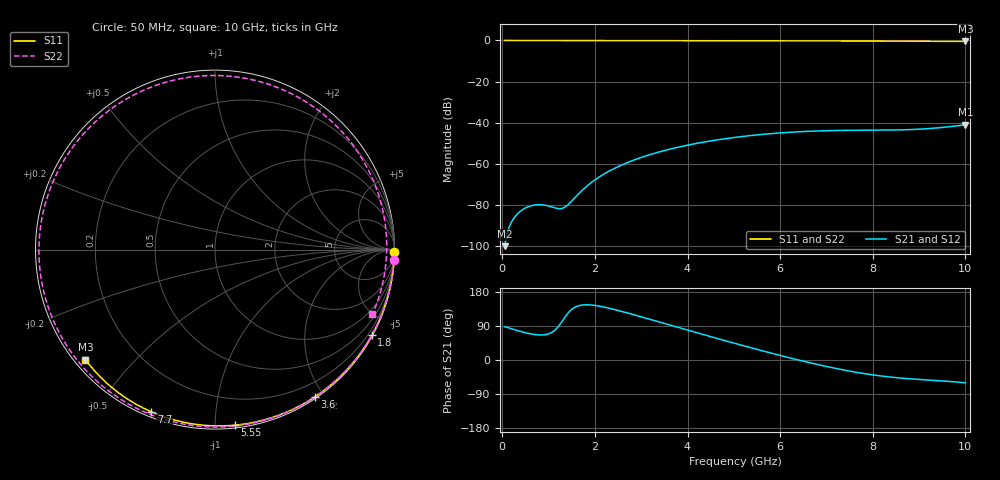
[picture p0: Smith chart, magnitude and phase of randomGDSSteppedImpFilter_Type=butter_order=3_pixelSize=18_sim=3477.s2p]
! freq	dB(S11)	phase(S11)	dB(S12)	phase(S12)
!  dB(S21)	phase(S21)	dB(S22)	phase(S22)
!S-par simulation data
#  GHz  S  DB  R 50
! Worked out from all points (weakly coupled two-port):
!   200 points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, 50 MHz to 10 GHz, reference 50 ohm
!   highest |S21| = -41.06 dB at 10 GHz (marker M1); lowest = -100.2 dB at 50 MHz (marker M2)
!   lowest |S11| = -0.5 dB at 10 GHz (marker M3), VSWR 36.74, Z = 1.54 - j18.3 ohm
!   |S11| at or under -10 dB: nowhere
!   |S22| runs from -0.5 to 0.0 dB; largest |S21 - S12| = 0
!   S11 on the Smith chart (normalised r, x): 50 MHz: open; 1.8 GHz: 0.03, -3.91; 3.6 GHz: 0.02, -1.88; 5.55 GHz: 0.02, -1.12; 7.7 GHz: 0.02, -0.68; 10 GHz: 0.03, -0.37
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0.05  -0.00 -0.8  -100.18 88.1  -100.18 88.1  -0.00 -3.2
0.4  -0.01 -6.5  -82.99 75.1  -82.99 75.1  -0.04 -25.0
0.75  -0.02 -12.1  -80.01 66.5  -80.01 66.5  -0.06 -46.1
1.05  -0.02 -16.8  -80.93 71.7  -80.93 71.7  -0.08 -63.3
1.4  -0.03 -22.4  -80.39 121.0  -80.39 121.0  -0.09 -82.1
1.75  -0.04 -27.9  -72.45 145.4  -72.45 145.4  -0.11 -99.4
1.8  -0.04 -28.7  -71.44 145.7  -71.44 145.7  -0.11 -101.8
2.15  -0.04 -34.1  -65.66 140.8  -65.66 140.8  -0.12 -117.6
2.6  -0.05 -41.0  -60.43 127.5  -60.43 127.5  -0.13 -136.2
3  -0.06 -47.1  -56.96 114.0  -56.96 114.0  -0.14 -151.5
3.4  -0.07 -53.0  -54.21 100.0  -54.21 100.0  -0.15 -165.9
3.6  -0.08 -56.0  -53.03 92.9  -53.03 92.9  -0.16 -172.9
4.3  -0.09 -66.1  -49.69 68.5  -49.69 68.5  -0.18 163.8
5.05  -0.12 -76.7  -47.13 42.9  -47.13 42.9  -0.21 139.7
5.55  -0.14 -83.5  -45.88 26.4  -45.88 26.4  -0.23 123.7
6.15  -0.16 -91.5  -44.80 7.4  -44.80 7.4  -0.25 104.4
6.7  -0.19 -98.7  -44.16 -8.9  -44.16 -8.9  -0.27 86.4
7.2  -0.22 -105.1  -43.85 -22.2  -43.85 -22.2  -0.28 69.8
7.7  -0.26 -111.4  -43.73 -33.6  -43.73 -33.6  -0.30 53.1
8.35  -0.31 -119.5  -43.65 -44.6  -43.65 -44.6  -0.33 31.3
9.15  -0.38 -129.3  -43.02 -52.5  -43.02 -52.5  -0.37 4.8
10  -0.47 -139.7  -41.06 -60.1  -41.06 -60.1  -0.46 -22.3
